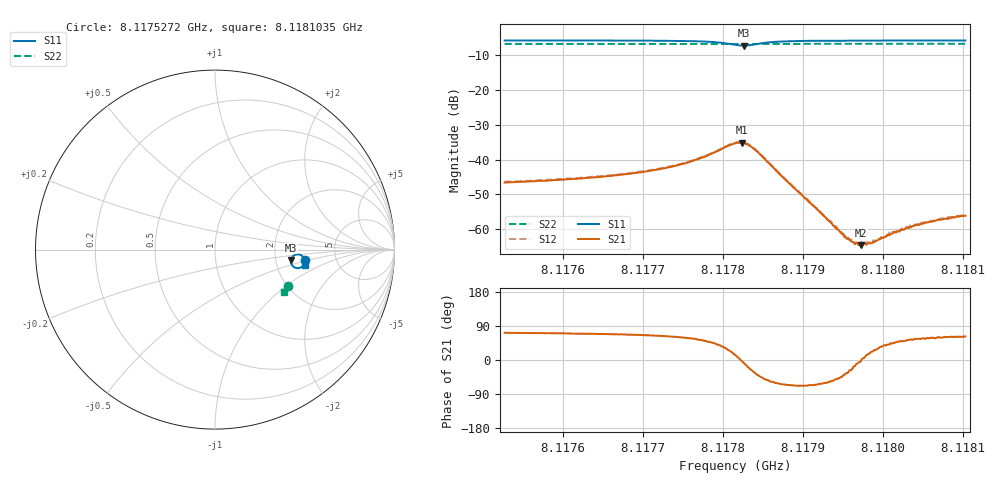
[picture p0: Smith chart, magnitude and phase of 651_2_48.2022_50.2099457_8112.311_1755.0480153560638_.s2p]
#  HZ  S  RI  R  50.00
! Rohde & Schwarz Vector Network Analyzer
! Rohde-Schwarz,ZNB20-2Port,1311601062101988,3.16
! Created: UTC 3/20/2024, 12:05:13 PM
! freq[Hz]  re:S11  im:S11  re:S21  im:S21  re:S12  im:S12  re:S22  im:S22
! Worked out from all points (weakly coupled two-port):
!   401 points, 8.1175272 GHz to 8.1181035 GHz, reference 50 ohm
!   highest |S21| = -35.16 dB at 8.117824 GHz (marker M1); lowest = -64.5 dB at 8.1179724 GHz (marker M2)
!   lowest |S11| = -7.4 dB at 8.1178269 GHz (marker M3), VSWR 2.49, Z = 122 - j17.1 ohm
!   |S11| at or under -10 dB: nowhere
!   |S22| runs from -6.9 to -6.9 dB; largest |S21 - S12| = 0.00066
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8.11752716e9  0.5035 -0.0569  0.00145 0.00447  0.00153 0.00453  0.4046 -0.203
8.1176237e9  0.5015 -0.0673  0.00187 0.00505  0.00197 0.00517  0.4018 -0.2093
8.11768422e9  0.4988 -0.0758  0.00245 0.00579  0.00258 0.00594  0.3997 -0.2133
8.11772024e9  0.4955 -0.0825  0.00321 0.00652  0.00328 0.00668  0.3985 -0.2157
8.11776346e9  0.486 -0.0941  0.00541 0.00803  0.00552 0.00817  0.3967 -0.2184
8.11779804e9  0.4583 -0.1032  0.0112 0.0083  0.0115 0.00861  0.3944 -0.2208
8.11781533e9  0.4298 -0.0878  0.0166 0.004  0.0169 0.00418  0.3929 -0.2207
8.11782398e9  0.4225 -0.0655  0.0174 -0.000932  0.0178 -0.000982  0.3925 -0.2202
8.11782686e9  0.4231 -0.0573  0.0169 -0.00256  0.0173 -0.00266  0.3925 -0.2202
8.1178355e9  0.4351 -0.0365  0.0138 -0.00669  0.0142 -0.00691  0.3929 -0.2199
8.11784415e9  0.453 -0.0273  0.00971 -0.00818  0.0099 -0.0083  0.3936 -0.2203
8.11787009e9  0.4861 -0.036  0.00297 -0.0056  0.00305 -0.00577  0.3941 -0.2223
8.11791187e9  0.4983 -0.0543  0.0009 -0.00206  0.000941 -0.0021  0.3932 -0.2259
8.11795221e9  0.5002 -0.0644  0.000603 -0.000489  0.000634 -0.00051  0.3919 -0.2288
8.1179623e9  0.5004 -0.0664  0.00061 -0.000255  0.000622 -0.000255  0.3914 -0.2294
8.11797239e9  0.5005 -0.0682  0.00059 -4.86e-05  0.000575 -3.14e-05  0.3912 -0.2301
8.11798679e9  0.5005 -0.0705  0.000588 0.000236  0.000631 0.000243  0.3906 -0.2311
8.11800264e9  0.5005 -0.0727  0.000606 0.000495  0.000612 0.000485  0.3902 -0.2321
8.11800841e9  0.5005 -0.0736  0.000618 0.000543  0.000677 0.000602  0.39 -0.2322
8.1180329e9  0.5003 -0.0768  0.000621 0.000843  0.000634 0.00087  0.3892 -0.2339
8.11805163e9  0.5002 -0.0789  0.000652 0.00103  0.000689 0.00106  0.3886 -0.2351
8.1181035e9  0.4994 -0.0846  0.000735 0.00138  0.000738 0.00143  0.3867 -0.2383
